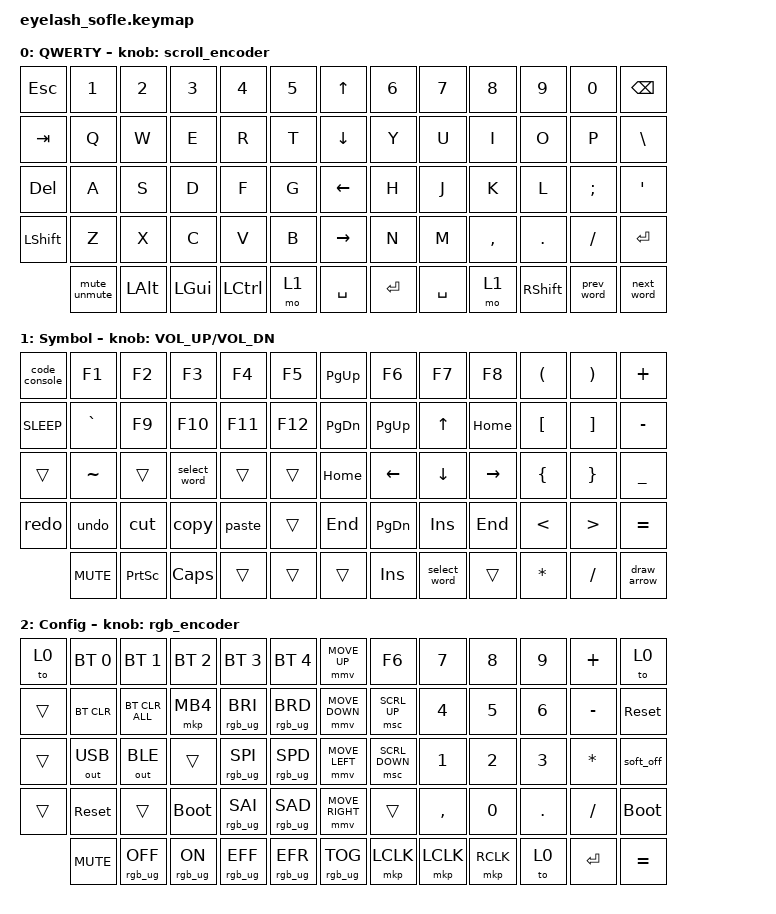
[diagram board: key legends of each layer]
#define CONFIG_ZMK_POINTING y
#define ZMK_MOUSE_DEFAULT_MOVE_VAL 1500 // 60
#define ZMK_MOUSE_DEFAULT_SCRL_VAL 30   // 10


#include <behaviors.dtsi>

#include <dt-bindings/zmk/bt.h>
#include <dt-bindings/zmk/keys.h>
#include <dt-bindings/zmk/pointing.h>
#include <dt-bindings/zmk/rgb.h>
#include <dt-bindings/zmk/outputs.h>
#include <dt-bindings/zmk/ext_power.h>

#include <input/processors.dtsi>


&msc {
    x-input-code = <INPUT_REL_HWHEEL>;
    y-input-code = <INPUT_REL_WHEEL>;
    time-to-max-speed-ms = <0>;
    acceleration-exponent = <0>;
    delay-ms = <0>;
};


/ {
    macros {
        next_word: next_word {
            compatible = "zmk,behavior-macro";
            #binding-cells = <0>;
            bindings
                = <&macro_press &kp LCTRL>
                , <&macro_tap &kp RIGHT_ARROW>
                , <&macro_release &kp LCTRL>
                ;
        };
        prev_word: prev_word {
            compatible = "zmk,behavior-macro";
            #binding-cells = <0>;
            bindings
                = <&macro_press &kp LCTRL>
                , <&macro_tap &kp LEFT_ARROW>
                , <&macro_release &kp LCTRL>
                ;
        };
        mute_unmute: mute_unmute {
            compatible = "zmk,behavior-macro";
            #binding-cells = <0>;
            bindings
                = <&macro_press &kp LCTRL>
                , <&macro_press &kp LSHFT>
                , <&macro_tap &kp M>
                , <&macro_release &kp LSHFT>
                , <&macro_release &kp LCTRL>
                ;
        };
        draw_arrow: draw_arrow {
            compatible = "zmk,behavior-macro";
            #binding-cells = <0>;
            bindings
                = <&macro_tap &kp MINUS>
                , <&macro_tap &kp GREATER_THAN>
                ;
        };
        code_console: code_console {
            compatible = "zmk,behavior-macro";
            #binding-cells = <0>;
            bindings
                = <&macro_press &kp LCTRL>
                , <&macro_tap &kp GRAVE>
                , <&macro_release &kp LCTRL>
                ;
        };
        code_comment: code_comment {
            compatible = "zmk,behavior-macro";
            #binding-cells = <0>;
            bindings
                = <&macro_press &kp LCTRL>
                , <&macro_tap &kp FSLH>
                , <&macro_release &kp LCTRL>
                ;
        };
        run_cell: run_cell {
            compatible = "zmk,behavior-macro";
            #binding-cells = <0>;
            bindings
                = <&macro_press &kp LSHFT>
                , <&macro_tap &kp ENTER>
                , <&macro_release &kp LSHFT>
                ;
        };
        run_same_cell: run_same_cell {
            compatible = "zmk,behavior-macro";
            #binding-cells = <0>;
            bindings
                = <&macro_press &kp LCTRL>
                , <&macro_tap &kp ENTER>
                , <&macro_release &kp LCTRL>
                ;
        };
        scroll_up: scroll_up {
            compatible = "zmk,behavior-macro";
            #binding-cells = <0>;
            bindings
                = <&macro_tap &msc SCRL_UP>
                ;
        };
        scroll_down: scroll_down {
            compatible = "zmk,behavior-macro";
            #binding-cells = <0>;
            bindings
                = <&macro_tap &msc SCRL_DOWN>
                ;
        };
        undo: undo {
            compatible = "zmk,behavior-macro";
            #binding-cells = <0>;
            bindings
                = <&macro_press &kp LCTRL>
                , <&macro_tap &kp Z>
                , <&macro_release &kp LCTRL>
                ;
        };
        redo: redo {
            compatible = "zmk,behavior-macro";
            #binding-cells = <0>;
            bindings
                = <&macro_press &kp LCTRL>
                , <&macro_tap &kp Y>
                , <&macro_release &kp LCTRL>
                ;
        };
        cut: cut {
            compatible = "zmk,behavior-macro";
            #binding-cells = <0>;
            bindings
                = <&macro_press &kp LCTRL>
                , <&macro_tap &kp X>
                , <&macro_release &kp LCTRL>
                ;
        };
        copy: copy {
            compatible = "zmk,behavior-macro";
            #binding-cells = <0>;
            bindings
                = <&macro_press &kp LCTRL>
                , <&macro_tap &kp C>
                , <&macro_release &kp LCTRL>
                ;
        };
        paste: paste {
            compatible = "zmk,behavior-macro";
            #binding-cells = <0>;
            bindings
                = <&macro_press &kp LCTRL>
                , <&macro_tap &kp V>
                , <&macro_release &kp LCTRL>
                ;
        };
        select_word: select_word {
            compatible = "zmk,behavior-macro";
            #binding-cells = <0>;
            bindings
                = <&macro_press &kp LCTRL>
                , <&macro_tap &kp RIGHT_ARROW>
                , <&macro_release &kp LCTRL>
                , <&macro_press &kp LSHFT>
                , <&macro_press &kp LCTRL>
                , <&macro_tap &kp LEFT_ARROW>
                , <&macro_release &kp LCTRL>
                , <&macro_release &kp LSHFT>
                ;
        };
    };

    combos {
        compatible = "zmk,combos";


        combo_code_console {
            timeout-ms = <50>;
            key-positions = <0 1>;
            bindings = <&code_console>;
            layers = <0>;
        };
        combo_code_comment {
            timeout-ms = <50>;
            key-positions = <3 4>;
            bindings = <&code_comment>;
            layers = <0>;
        };


        combo_plus {
            timeout-ms = <50>;
            key-positions = <9 10>;
            bindings = <&kp PLUS>;
            layers = <0>;
        };
        combo_under {
            timeout-ms = <50>;
            key-positions = <35 36>;
            bindings = <&kp UNDER>;
            layers = <0>;
        };
        combo_minus {
            timeout-ms = <50>;
            key-positions = <48 49>;
            bindings = <&kp MINUS>;
            layers = <0>;
        };
        combo_arrow {
            timeout-ms = <50>;
            key-positions = <49 50>;
            bindings = <&draw_arrow>;
            layers = <0>;
        };


        combo_LPAR {
            timeout-ms = <50>;
            key-positions = <10 11>;
            bindings = <&kp LPAR>;
            layers = <0>;
        };
        combo_LEFT_BRACKET {
            timeout-ms = <30>;
            key-positions = <23 24>;
            bindings = <&kp LEFT_BRACKET>;
            layers = <0>;
        };
        combo_LBRC {
            timeout-ms = <50>;
            key-positions = <36 37>;
            bindings = <&kp LBRC>;
            layers = <0>;
        };


        combo_del {
            timeout-ms = <50>;
            key-positions = <11 12>;
            bindings = <&kp DELETE>;
            layers = <0>;
        };

        combo_APOS {
            timeout-ms = <50>;
            key-positions = <24 25>;
            bindings = <&kp APOS>;
            layers = <0>;
        };

        combo_COLON {
            timeout-ms = <50>;
            key-positions = <37 38>;
            bindings = <&kp COLON>;
            layers = <0>;
        };
        combo_run_cell {
            timeout-ms = <50>;
            key-positions = <50 51>;
            bindings = <&run_cell>;
            layers = <0>;
        };


        combo_to2 {
            timeout-ms = <50>;
            key-positions = <60 61>;
            bindings = <&to 2>;
            layers = <0>;
        };


        combo_EQUAL {
            timeout-ms = <50>;
            key-positions = <62 63>;
            bindings = <&kp EQUAL>;
            layers = <0>;
        };

    };

    behaviors {
        mmv {
            acceleration-exponent = <1>;      // 1
            time-to-max-speed-ms = <900>;     // 40
            delay-ms = <0>;                   // 0
        };

        msc {
            acceleration-exponent = <1>;     // 0
            time-to-max-speed-ms = <1>;      // 500
            delay-ms = <0>;                  // 10
        };

        scroll_encoder: scroll_encoder {
            compatible = "zmk,behavior-sensor-rotate";
            #sensor-binding-cells = <0>;
            bindings = <&msc MOVE_Y(-50)>, <&msc MOVE_Y(50)>;

            tap-ms = <50>;
        };

        rgb_encoder: rgb_encoder {
            compatible = "zmk,behavior-sensor-rotate";
            label = "RGB_ENCODER";
            #sensor-binding-cells = <0>;
            bindings = <&rgb_ug RGB_HUD>, <&rgb_ug RGB_HUI>;
        };
    };

    keymap {
        compatible = "zmk,keymap";

        layer0 {
            bindings = <
&kp ESC     &kp N1           &kp N2        &kp N3        &kp N4        &kp N5                         &kp UP_ARROW                   &kp N6      &kp N7     &kp N8           &kp N9           &kp N0      &kp BACKSPACE
&kp TAB     &kp Q            &kp W         &kp E         &kp R         &kp T                          &kp DOWN_ARROW                 &kp Y       &kp U      &kp I            &kp O            &kp P       &kp BSLH
&kp DELETE  &kp A            &kp S         &kp D         &kp F         &kp G                          &kp LEFT_ARROW                 &kp H       &kp J      &kp K            &kp L            &kp SEMI    &kp APOS
&kp LSHFT   &kp Z            &kp X         &kp C         &kp V         &kp B                          &kp RIGHT_ARROW                &kp N       &kp M      &kp COMMA        &kp DOT          &kp FSLH    &kp ENTER
            &mute_unmute     &kp LEFT_ALT  &kp LEFT_GUI  &kp LCTRL     &mo 1        &kp SPACE         &kp ENTER          &kp SPACE   &mo 1       &kp RSHFT  &prev_word       &next_word
            >;

            sensor-bindings = <&scroll_encoder>;
            display-name = "QWERTY";
        };

        layer_1 {
            bindings = <
&code_console  &kp F1       &kp F2           &kp F3        &kp F4    &kp F5              &kp PG_UP                       &kp F6       &kp F7         &kp F8      &kp LPAR           &kp RPAR           &kp PLUS
&kp K_SLEEP    &kp GRAVE    &kp F9           &kp F10       &kp F11   &kp F12             &kp PG_DN                       &kp PG_UP    &kp UP         &kp HOME    &kp LEFT_BRACKET   &kp RIGHT_BRACKET  &kp MINUS
&trans         &kp TILDE    &trans           &select_word  &trans    &trans              &kp HOME                        &kp LEFT     &kp DOWN       &kp RIGHT   &kp LBRC           &kp RBRC           &kp UNDER
&redo          &undo        &cut             &copy         &paste    &trans              &kp END                         &kp PG_DN    &kp INSERT     &kp END     &kp LESS_THAN      &kp GREATER_THAN   &kp EQUAL
               &kp C_MUTE   &kp PRINTSCREEN  &kp CAPSLOCK  &trans    &trans   &trans     &kp INSERT        &select_word  &trans       &kp ASTERISK   &kp FSLH    &draw_arrow
            >;

            sensor-bindings = <&inc_dec_kp C_VOLUME_UP C_VOL_DN>;
            display-name = "Symbol";
        };

        layer_2 {
            bindings = <
&to 0       &bt BT_SEL 0   &bt BT_SEL 1     &bt BT_SEL 2     &bt BT_SEL 3     &bt BT_SEL 4                      &mmv MOVE_UP                 &kp F6           &kp N7     &kp N8     &kp N9    &kp PLUS      &to 0
&trans      &bt BT_CLR     &bt BT_CLR_ALL   &mkp MB4         &rgb_ug RGB_BRI  &rgb_ug RGB_BRD                    &mmv MOVE_DOWN               &msc SCRL_UP     &kp N4     &kp N5     &kp N6    &kp MINUS     &sys_reset
&trans      &out OUT_USB   &out OUT_BLE     &trans           &rgb_ug RGB_SPI  &rgb_ug RGB_SPD                   &mmv MOVE_LEFT               &msc SCRL_DOWN   &kp N1     &kp N2     &kp N3    &kp ASTERISK  &soft_off
&trans      &sys_reset     &trans           &bootloader      &rgb_ug RGB_SAI  &rgb_ug RGB_SAD                   &mmv MOVE_RIGHT              &trans           &kp COMMA  &kp N0     &kp DOT   &kp FSLH      &bootloader
            &kp C_MUTE     &rgb_ug RGB_OFF  &rgb_ug RGB_ON   &rgb_ug RGB_EFF  &rgb_ug RGB_EFR  &rgb_ug RGB_TOG  &mkp LCLK        &mkp LCLK   &mkp RCLK        &to 0      &kp ENTER  &kp EQUAL
            >;
 
            sensor-bindings = <&rgb_encoder>;
            display-name = "Config";
        };
    };
};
